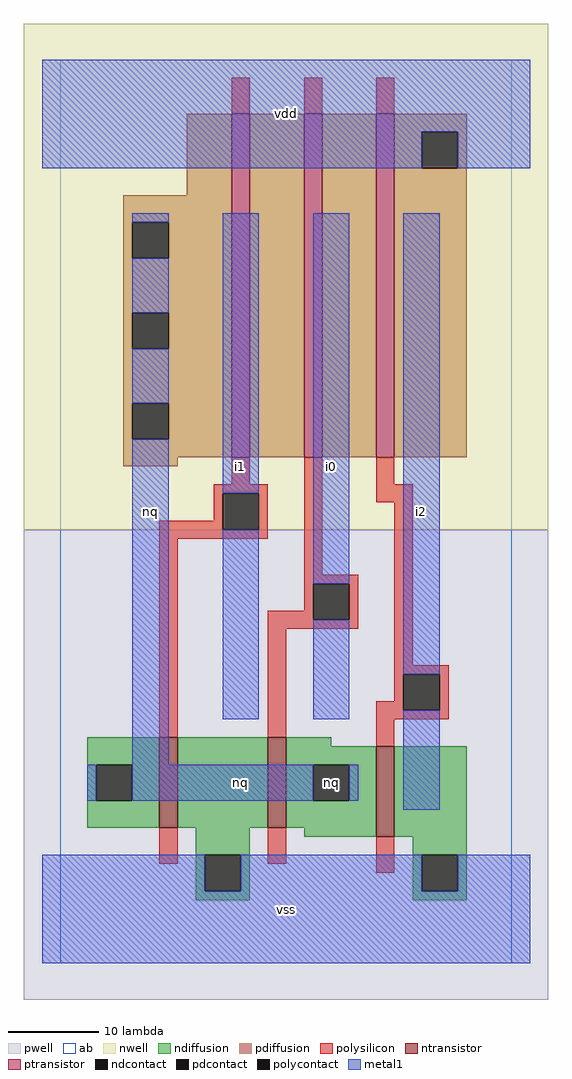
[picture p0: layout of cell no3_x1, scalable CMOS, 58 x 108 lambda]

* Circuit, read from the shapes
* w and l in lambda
.subckt no3_x1 i0 i1 i2 nq vdd vss
M1 vss i1 nq VSUBS nfet w=10 l=2
M2 nq i0 vss VSUBS nfet w=10 l=2
M3 vss i2 nq VSUBS nfet w=10 l=2
M4 n1 i1 nq n2 pfet w=38 l=2
M5 n3 i0 n1 n2 pfet w=38 l=2
M6 vdd i2 n3 n2 pfet w=38 l=2
.ends

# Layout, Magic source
magic
tech scmos
<< ab >>
rect 0 0 50 100
<< pwell >>
rect -4 -4 54 48
<< nwell >>
rect -4 48 54 104
<< polysilicon >>
rect 19 94 21 98
rect 27 94 29 98
rect 35 94 37 98
rect 19 53 21 56
rect 17 52 23 53
rect 17 49 18 52
rect 11 48 18 49
rect 22 48 23 52
rect 11 47 23 48
rect 11 25 13 47
rect 27 43 29 56
rect 35 53 37 56
rect 35 51 39 53
rect 27 42 33 43
rect 27 39 28 42
rect 23 38 28 39
rect 32 38 33 42
rect 23 37 33 38
rect 23 25 25 37
rect 37 33 39 51
rect 37 32 43 33
rect 37 29 38 32
rect 35 28 38 29
rect 42 28 43 32
rect 35 27 43 28
rect 35 24 37 27
rect 11 11 13 15
rect 23 11 25 15
rect 35 10 37 14
<< ndiffusion >>
rect 3 22 11 25
rect 3 18 4 22
rect 8 18 11 22
rect 3 15 11 18
rect 13 15 23 25
rect 25 24 30 25
rect 25 22 35 24
rect 25 18 28 22
rect 32 18 35 22
rect 25 15 35 18
rect 15 12 21 15
rect 15 8 16 12
rect 20 8 21 12
rect 27 14 35 15
rect 37 14 45 24
rect 39 12 45 14
rect 15 7 21 8
rect 39 8 40 12
rect 44 8 45 12
rect 39 7 45 8
<< pdiffusion >>
rect 14 85 19 94
rect 7 82 19 85
rect 7 78 8 82
rect 12 78 19 82
rect 7 72 19 78
rect 7 68 8 72
rect 12 68 19 72
rect 7 62 19 68
rect 7 58 8 62
rect 12 58 19 62
rect 7 56 19 58
rect 21 56 27 94
rect 29 56 35 94
rect 37 92 45 94
rect 37 88 40 92
rect 44 88 45 92
rect 37 56 45 88
rect 7 55 13 56
<< metal1 >>
rect -2 92 52 100
rect -2 88 40 92
rect 44 88 52 92
rect 8 82 12 83
rect 8 72 12 78
rect 8 62 12 68
rect 8 22 12 58
rect 18 52 22 83
rect 18 27 22 48
rect 28 42 32 83
rect 28 27 32 38
rect 38 32 42 83
rect 3 18 4 22
rect 8 18 28 22
rect 32 18 33 22
rect 38 17 42 28
rect -2 8 16 12
rect 20 8 40 12
rect 44 8 52 12
rect -2 0 52 8
<< ntransistor >>
rect 11 15 13 25
rect 23 15 25 25
rect 35 14 37 24
<< ptransistor >>
rect 19 56 21 94
rect 27 56 29 94
rect 35 56 37 94
<< polycontact >>
rect 18 48 22 52
rect 28 38 32 42
rect 38 28 42 32
<< ndcontact >>
rect 4 18 8 22
rect 28 18 32 22
rect 16 8 20 12
rect 40 8 44 12
<< pdcontact >>
rect 8 78 12 82
rect 8 68 12 72
rect 8 58 12 62
rect 40 88 44 92
<< labels >>
rlabel metal1 20 20 20 20 6 nq
rlabel metal1 10 50 10 50 6 nq
rlabel metal1 20 55 20 55 6 i1
rlabel metal1 25 6 25 6 6 vss
rlabel ndcontact 30 20 30 20 6 nq
rlabel metal1 30 55 30 55 6 i0
rlabel metal1 25 94 25 94 6 vdd
rlabel metal1 40 50 40 50 6 i2
<< end >>
